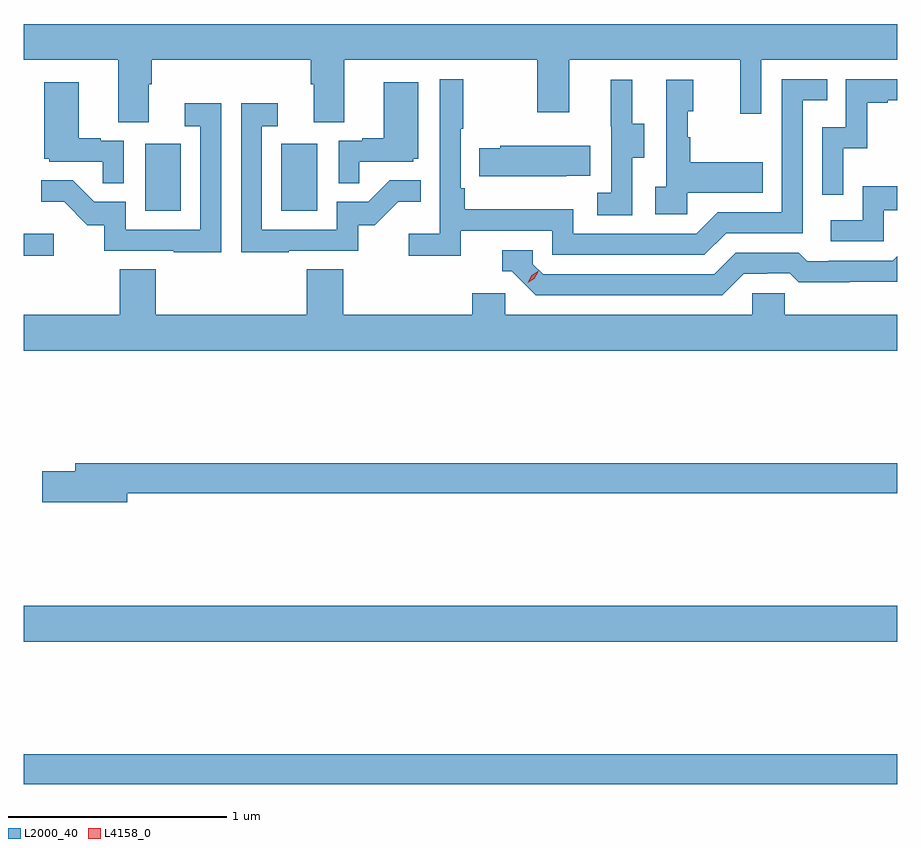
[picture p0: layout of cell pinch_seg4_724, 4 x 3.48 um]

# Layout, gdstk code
import gdstk
lib = gdstk.Library(unit=1e-6, precision=1e-09)
def R(c, l, rs):  # rectangles x0, y0, x1, y1
    for r in rs: c.add(gdstk.rectangle(r[:2], r[2:], *l))
def P(c, l, *ps):  # polygons
    for p in ps: c.add(gdstk.Polygon(p, *l))
L2000_40 = (2000, 40)
L4158_0 = (4158, 0)

pinch_seg4_724 = lib.new_cell('pinch_seg4_724')
R(pinch_seg4_724, L2000_40, [(848.788,824.14,852.788,824.276), (848.788,824.792,852.788,824.956), (848.788,826.558,848.926,826.66), (849.344,826.764,849.508,827.071), (849.968,826.764,850.132,827.071)])
P(pinch_seg4_724, L2000_40, [(849.361,827.344),(849.374,827.344),(849.374,827.456),(850.103,827.456),(850.103,827.344),(850.115,827.344),(850.115,827.17),(850.255,827.17),(850.255,827.456),(851.14,827.456),(851.14,827.217),(851.287,827.217),(851.287,827.456),(852.068,827.456),(852.068,827.208),(852.165,827.208),(852.165,827.456),(852.788,827.456),(852.788,827.62),(848.788,827.62),(848.788,827.456),(849.221,827.456),(849.221,827.17),(849.361,827.17)],
  [(850.79,826.674),(851.208,826.674),(851.208,826.563),(851.905,826.563),(852.004,826.662),(852.354,826.662),(852.354,827.271),(852.467,827.271),(852.467,827.367),(852.258,827.367),(852.258,826.758),(851.967,826.758),(851.868,826.659),(851.304,826.659),(851.304,826.771),(850.808,826.771),(850.808,826.867),(850.788,826.867),(850.788,827.14),(850.801,827.14),(850.801,827.368),(850.692,827.368),(850.692,826.66),(850.551,826.66),(850.551,826.558),(850.79,826.558)],
  [(852.54,827.051),(852.65,827.051),(852.65,827.259),(852.745,827.259),(852.745,827.271),(852.788,827.271),(852.788,827.367),(852.552,827.367),(852.552,827.148),(852.444,827.148),(852.444,826.839),(852.54,826.839)],
  [(851.574,827.008),(851.629,827.008),(851.629,827.163),(851.575,827.163),(851.575,827.365),(851.477,827.365),(851.477,827.151),(851.478,827.151),(851.478,826.847),(851.415,826.847),(851.415,826.744),(851.574,826.744)],
  [(851.826,826.847),(852.173,826.847),(852.173,826.987),(851.839,826.987),(851.839,827.102),(851.829,827.102),(851.829,827.22),(851.854,827.22),(851.854,827.365),(851.73,827.365),(851.73,826.874),(851.679,826.874),(851.679,826.749),(851.826,826.749)],
  [(850.325,826.989),(850.572,826.989),(850.572,827.004),(850.594,827.004),(850.594,827.353),(850.436,827.353),(850.436,827.098),(850.337,827.098),(850.337,827.085),(850.23,827.085),(850.23,826.891),(850.325,826.891)],
  [(849.246,827.085),(849.14,827.085),(849.14,827.098),(849.04,827.098),(849.04,827.353),(848.882,827.353),(848.882,827.004),(848.904,827.004),(848.904,826.989),(849.151,826.989),(849.151,826.891),(849.246,826.891)],
  [(850.001,826.581),(850.32,826.581),(850.32,826.698),(850.396,826.698),(850.503,826.805),(850.607,826.805),(850.607,826.904),(850.463,826.904),(850.365,826.806),(850.221,826.806),(850.221,826.677),(849.879,826.677),(849.879,827.151),(849.952,827.151),(849.952,827.257),(849.783,827.257),(849.783,826.576),(850.001,826.576)],
  [(849.693,827.257),(849.525,827.257),(849.525,827.151),(849.597,827.151),(849.597,826.677),(849.255,826.677),(849.255,826.806),(849.111,826.806),(849.013,826.904),(848.869,826.904),(848.869,826.805),(848.973,826.805),(849.08,826.698),(849.157,826.698),(849.157,826.581),(849.475,826.581),(849.475,826.576),(849.693,826.576)],
  [(851.273,826.925),(851.381,826.925),(851.381,827.062),(850.971,827.062),(850.971,827.052),(850.873,827.052),(850.873,826.922),(851.273,826.922)],
  [(852.726,826.767),(852.788,826.767),(852.788,826.876),(852.63,826.876),(852.63,826.722),(852.483,826.722),(852.483,826.626),(852.726,826.626)],
  [(852.085,826.476),(852.192,826.476),(852.192,826.479),(852.295,826.479),(852.337,826.437),(852.57,826.437),(852.57,826.439),(852.788,826.439),(852.788,826.556),(852.768,826.536),(852.475,826.536),(852.475,826.533),(852.376,826.533),(852.337,826.572),(852.048,826.572),(851.949,826.473),(851.166,826.473),(851.118,826.521),(851.118,826.584),(850.979,826.584),(850.979,826.488),(851.022,826.488),(851.133,826.377),(851.986,826.377)],
  [(852.788,826.288),(852.273,826.288),(852.273,826.386),(852.123,826.386),(852.123,826.288),(850.992,826.288),(850.992,826.386),(850.841,826.386),(850.841,826.288),(850.25,826.288),(850.25,826.496),(850.085,826.496),(850.085,826.288),(849.392,826.288),(849.392,826.496),(849.227,826.496),(849.227,826.288),(848.788,826.288),(848.788,826.124),(852.788,826.124)],
  [(849.262,825.472),(852.788,825.472),(852.788,825.608),(849.023,825.608),(849.023,825.572),(848.874,825.572),(848.874,825.43),(849.262,825.43)])
P(pinch_seg4_724, L4158_0, [(851.095,826.435),(851.095,826.435),(851.112,826.467),(851.142,826.487),(851.143,826.487),(851.143,826.486),(851.126,826.454),(851.096,826.435)])

lib.write_gds('pinch_seg4_724.gds')
